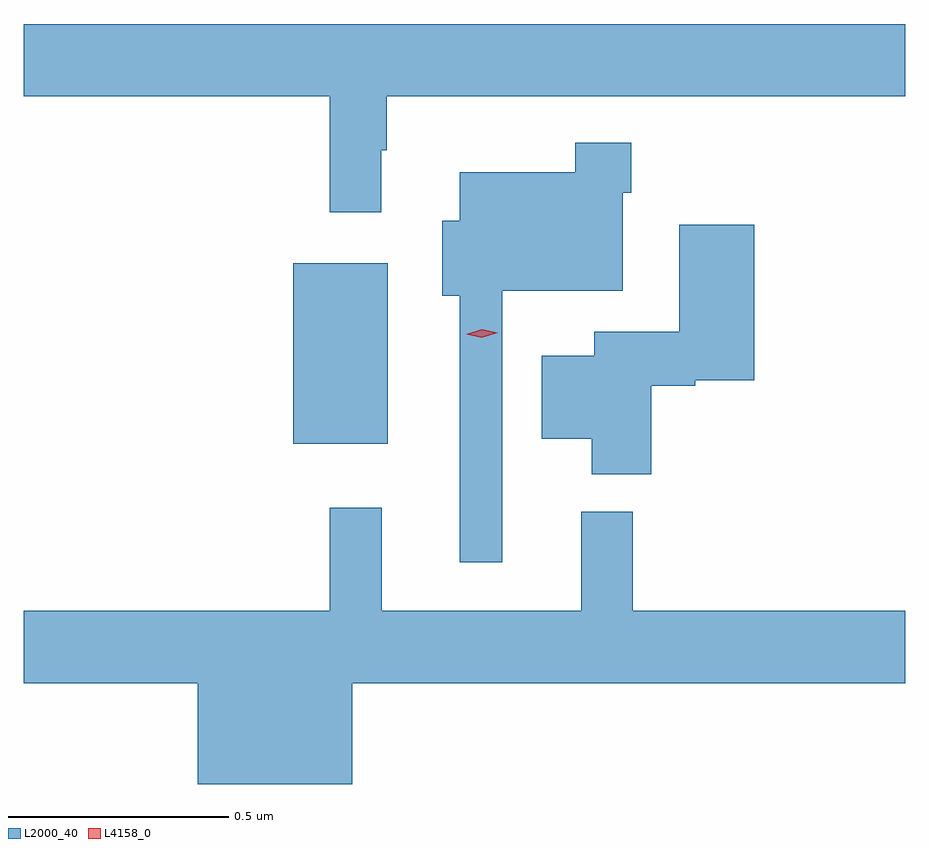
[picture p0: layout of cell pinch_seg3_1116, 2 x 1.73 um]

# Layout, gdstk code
import gdstk
lib = gdstk.Library(unit=1e-6, precision=1e-09)
def R(c, l, rs):  # rectangles x0, y0, x1, y1
    for r in rs: c.add(gdstk.rectangle(r[:2], r[2:], *l))
def P(c, l, *ps):  # polygons
    for p in ps: c.add(gdstk.Polygon(p, *l))
L2000_40 = (2000, 40)
L4158_0 = (4158, 0)

pinch_seg3_1116 = lib.new_cell('pinch_seg3_1116')
R(pinch_seg3_1116, L2000_40, [(238.172,710.783,238.387,711.193)])
P(pinch_seg3_1116, L2000_40, [(238.372,711.449),(238.384,711.449),(238.384,711.572),(239.561,711.572),(239.561,711.736),(237.561,711.736),(237.561,711.572),(238.255,711.572),(238.255,711.309),(238.372,711.309)],
  [(238.647,711.131),(238.92,711.131),(238.92,711.353),(238.94,711.353),(238.94,711.466),(238.812,711.466),(238.812,711.4),(238.55,711.4),(238.55,711.289),(238.511,711.289),(238.511,711.119),(238.55,711.119),(238.55,710.514),(238.647,710.514)],
  [(238.985,710.915),(239.085,710.915),(239.085,710.927),(239.219,710.927),(239.219,711.28),(239.048,711.28),(239.048,711.037),(238.856,711.037),(238.856,710.983),(238.736,710.983),(238.736,710.795),(238.85,710.795),(238.85,710.714),(238.985,710.714)],
  [(238.306,710.24),(239.561,710.24),(239.561,710.404),(238.943,710.404),(238.943,710.629),(238.826,710.629),(238.826,710.404),(238.373,710.404),(238.373,710.638),(238.255,710.638),(238.255,710.404),(237.561,710.404),(237.561,710.24),(237.956,710.24),(237.956,710.011),(238.306,710.011)])
P(pinch_seg3_1116, L4158_0, [(238.6,711.024),(238.565,711.032),(238.564,711.032),(238.565,711.032),(238.6,711.043),(238.636,711.035),(238.636,711.035),(238.636,711.035)])

lib.write_gds('pinch_seg3_1116.gds')
